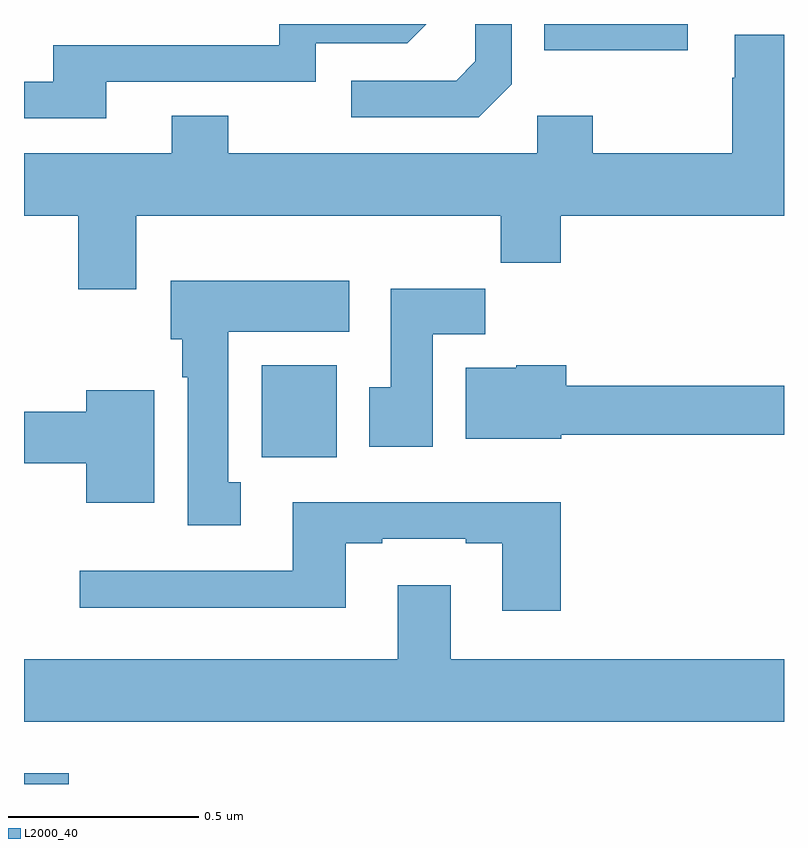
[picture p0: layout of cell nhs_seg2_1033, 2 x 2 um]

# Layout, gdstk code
import gdstk
lib = gdstk.Library(unit=1e-6, precision=1e-09)
def R(c, l, rs):  # rectangles x0, y0, x1, y1
    for r in rs: c.add(gdstk.rectangle(r[:2], r[2:], *l))
def P(c, l, *ps):  # polygons
    for p in ps: c.add(gdstk.Polygon(p, *l))
L2000_40 = (2000, 40)

nhs_seg2_1033 = lib.new_cell('nhs_seg2_1033')
R(nhs_seg2_1033, L2000_40, [(123,652.8,123.118,652.828), (123.626,653.66,123.823,653.902), (124.369,654.731,124.747,654.8)])
P(nhs_seg2_1033, L2000_40, [(124.284,654.642),(124.284,654.8),(124.188,654.8),(124.188,654.702),(124.137,654.651),(123.861,654.651),(123.861,654.555),(124.197,654.555)],
  [(123.217,654.648),(123.768,654.648),(123.768,654.75),(124.008,654.75),(124.058,654.8),(123.672,654.8),(123.672,654.744),(123.077,654.744),(123.077,654.648),(123,654.648),(123,654.552),(123.217,654.552)],
  [(123.295,654.296),(124.255,654.296),(124.255,654.172),(124.412,654.172),(124.412,654.296),(125,654.296),(125,654.772),(124.871,654.772),(124.871,654.659),(124.864,654.659),(124.864,654.46),(124.497,654.46),(124.497,654.559),(124.35,654.559),(124.35,654.46),(123.537,654.46),(123.537,654.559),(123.389,654.559),(123.389,654.46),(123,654.46),(123,654.296),(123.143,654.296),(123.143,654.102),(123.295,654.102)],
  [(123.571,653.594),(123.538,653.594),(123.538,653.99),(123.856,653.99),(123.856,654.124),(123.386,654.124),(123.386,653.97),(123.416,653.97),(123.416,653.87),(123.431,653.87),(123.431,653.481),(123.571,653.481)],
  [(124.075,653.984),(124.214,653.984),(124.214,654.103),(123.965,654.103),(123.965,653.844),(123.908,653.844),(123.908,653.688),(124.075,653.688)],
  [(124.414,653.719),(125,653.719),(125,653.848),(124.427,653.848),(124.427,653.902),(124.296,653.902),(124.296,653.896),(124.163,653.896),(124.163,653.708),(124.414,653.708)],
  [(123.343,653.836),(123.164,653.836),(123.164,653.78),(123,653.78),(123,653.644),(123.164,653.644),(123.164,653.54),(123.343,653.54)],
  [(124.412,653.542),(123.707,653.542),(123.707,653.361),(123.147,653.361),(123.147,653.264),(123.847,653.264),(123.847,653.433),(123.943,653.433),(123.943,653.445),(124.163,653.445),(124.163,653.433),(124.259,653.433),(124.259,653.256),(124.412,653.256)],
  [(125,653.128),(124.123,653.128),(124.123,653.323),(123.983,653.323),(123.983,653.128),(123,653.128),(123,652.964),(125,652.964)])

lib.write_gds('nhs_seg2_1033.gds')
